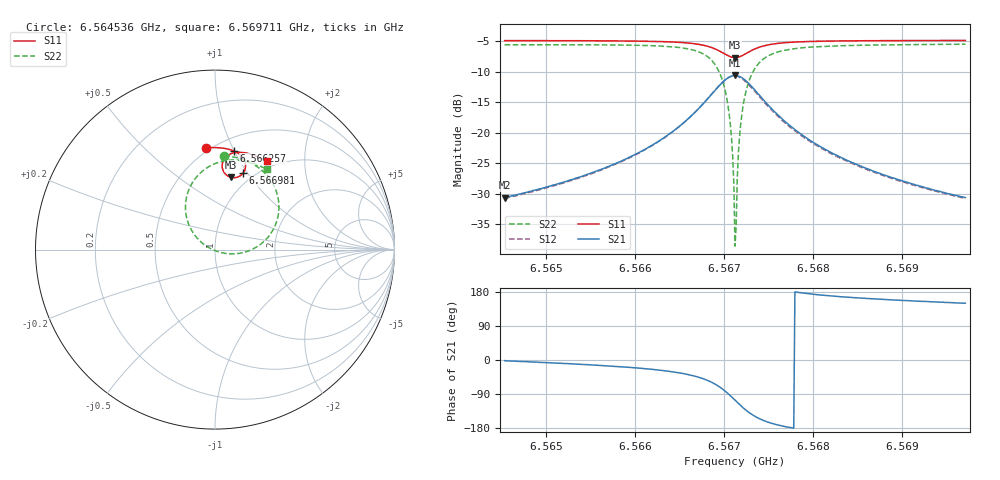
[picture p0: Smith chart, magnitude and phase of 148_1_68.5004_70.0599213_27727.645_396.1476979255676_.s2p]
#  HZ  S  RI  R  50.00
! Rohde & Schwarz Vector Network Analyzer
! Rohde-Schwarz,ZNB20-2Port,1311601062101988,3.16
! Created: UTC 3/20/2024, 5:10:18 PM
! freq[Hz]  re:S11  im:S11  re:S21  im:S21  re:S12  im:S12  re:S22  im:S22
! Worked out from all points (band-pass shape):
!   401 points, 6.564536 GHz to 6.569711 GHz, reference 50 ohm
!   highest |S21| = -10.61 dB at 6.567124 GHz (marker M1); lowest = -30.7 dB at 6.564536 GHz (marker M2)
!   |S21| within 3 dB of the highest: 6.566866 GHz to 6.567383 GHz (517.2 kHz wide, 0.00788 % of centre)
!   lowest |S11| = -7.7 dB at 6.567124 GHz (marker M3), VSWR 2.40, Z = 42 + j40.7 ohm
!   |S11| at or under -10 dB: nowhere
!   |S22| runs from -38.6 to -5.5 dB; largest |S21 - S12| = 0.014
!   S11 on the Smith chart (normalised r, x): 6.564536 GHz: 0.48, +0.80; 6.566257 GHz: 0.62, +1.00; 6.566981 GHz: 0.89, +0.95; 6.569711 GHz: 0.90, +1.32
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6.5645361e9  -0.0492 0.5671  0.0293 -0.000867  0.0289 -0.00146  0.0513 0.5233
6.565403e9  0.0227 0.5674  0.043 -0.00873  0.0423 -0.00941  0.1355 0.5079
6.5662569e9  0.1045 0.55  0.0756 -0.0372  0.0746 -0.0382  0.2536 0.4481
6.5662698e9  0.1059 0.5493  0.0766 -0.0382  0.0754 -0.0391  0.256 0.4462
6.5665674e9  0.1413 0.5276  0.0993 -0.0747  0.0978 -0.0762  0.3183 0.3745
6.5667744e9  0.1654 0.4933  0.1125 -0.1345  0.1099 -0.1371  0.3555 0.2593
6.5668908e9  0.1697 0.4593  0.1014 -0.1939  0.0964 -0.1976  0.3397 0.1458
6.5669814e9  0.1565 0.4263  0.0614 -0.2505  0.0526 -0.2536  0.2668 0.0404
6.567059e9  0.126 0.4041  -0.00758 -0.2856  -0.0199 -0.2848  0.1394 -0.0203
6.5670849e9  0.1123 0.4009  -0.0366 -0.2889  -0.0494 -0.2861  0.0869 -0.0238
6.5671108e9  0.098 0.4009  -0.0665 -0.2867  -0.0792 -0.2816  0.0338 -0.0166
6.5671237e9  0.0909 0.402  -0.0812 -0.2832  -0.0938 -0.277  0.00785 -0.00873
6.5671367e9  0.0839 0.4041  -0.0958 -0.2783  -0.1077 -0.2711  -0.017 0.0016
6.5671496e9  0.0772 0.4068  -0.1094 -0.2722  -0.1209 -0.2636  -0.0405 0.0144
6.5671755e9  0.0651 0.4142  -0.1345 -0.256  -0.1443 -0.2458  -0.082 0.0463
6.5672143e9  0.0513 0.4292  -0.1636 -0.2252  -0.1705 -0.2137  -0.1284 0.104
6.5672531e9  0.043 0.4462  -0.1818 -0.1913  -0.1859 -0.1792  -0.1549 0.166
6.5673178e9  0.0405 0.4739  -0.1921 -0.1375  -0.1922 -0.1266  -0.1634 0.2609
6.5675636e9  0.0792 0.5293  -0.147 -0.0285  -0.1439 -0.0241  -0.0606 0.4447
6.5679906e9  0.1423 0.5422  -0.084 0.0091  -0.0819 0.0104  0.0796 0.498
6.5688574e9  0.225 0.5227  -0.0407 0.0155  -0.0398 0.0158  0.2105 0.4816
6.5697113e9  0.2889 0.4922  -0.0255 0.0147  -0.0248 0.0149  0.2876 0.447
